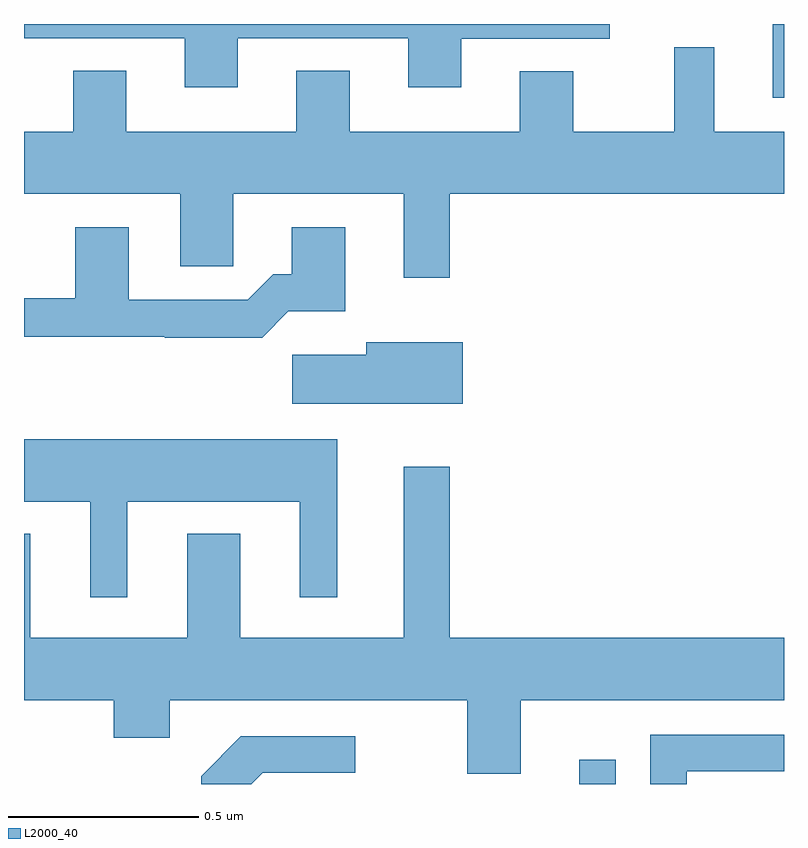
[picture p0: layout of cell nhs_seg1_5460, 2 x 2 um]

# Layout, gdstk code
import gdstk
lib = gdstk.Library(unit=1e-6, precision=1e-09)
def R(c, l, rs):  # rectangles x0, y0, x1, y1
    for r in rs: c.add(gdstk.rectangle(r[:2], r[2:], *l))
def P(c, l, *ps):  # polygons
    for p in ps: c.add(gdstk.Polygon(p, *l))
L2000_40 = (2000, 40)

nhs_seg1_5460 = lib.new_cell('nhs_seg1_5460')
R(nhs_seg1_5460, L2000_40, [(180.461,530.199,180.557,530.263), (180.971,532.005,181,532.199)])
P(nhs_seg1_5460, L2000_40, [(179.563,532.161),(180.011,532.161),(180.011,532.032),(180.151,532.032),(180.151,532.16),(180.541,532.16),(180.541,532.199),(179,532.199),(179,532.161),(179.423,532.161),(179.423,532.032),(179.563,532.032)],
  [(180.121,531.752),(181,531.752),(181,531.916),(180.817,531.916),(180.817,532.138),(180.711,532.138),(180.711,531.916),(180.445,531.916),(180.445,532.075),(180.305,532.075),(180.305,531.916),(179.857,531.916),(179.857,532.076),(179.717,532.076),(179.717,531.916),(179.269,531.916),(179.269,532.076),(179.129,532.076),(179.129,531.916),(179,531.916),(179,531.752),(179.411,531.752),(179.411,531.562),(179.55,531.562),(179.55,531.752),(179.999,531.752),(179.999,531.531),(180.121,531.531)],
  [(179.696,531.443),(179.845,531.443),(179.845,531.664),(179.705,531.664),(179.705,531.541),(179.656,531.541),(179.589,531.474),(179.275,531.474),(179.275,531.664),(179.135,531.664),(179.135,531.477),(179,531.477),(179,531.376),(179.371,531.376),(179.371,531.374),(179.627,531.374)],
  [(180.154,531.361),(179.9,531.361),(179.9,531.329),(179.706,531.329),(179.706,531.2),(180.154,531.2)],
  [(179.272,530.942),(179.726,530.942),(179.726,530.691),(179.824,530.691),(179.824,531.106),(179,531.106),(179,530.942),(179.174,530.942),(179.174,530.691),(179.272,530.691)],
  [(180.307,530.42),(181,530.42),(181,530.584),(180.121,530.584),(180.121,531.034),(179.999,531.034),(179.999,530.584),(179.569,530.584),(179.569,530.857),(179.429,530.857),(179.429,530.584),(179.017,530.584),(179.017,530.857),(179,530.857),(179,530.42),(179.236,530.42),(179.236,530.321),(179.383,530.321),(179.383,530.42),(180.167,530.42),(180.167,530.226),(180.307,530.226)],
  [(180.744,530.232),(181,530.232),(181,530.328),(180.648,530.328),(180.648,530.199),(180.744,530.199)],
  [(179.628,530.229),(179.872,530.229),(179.872,530.325),(179.571,530.325),(179.466,530.219),(179.466,530.199),(179.598,530.199)])

lib.write_gds('nhs_seg1_5460.gds')
